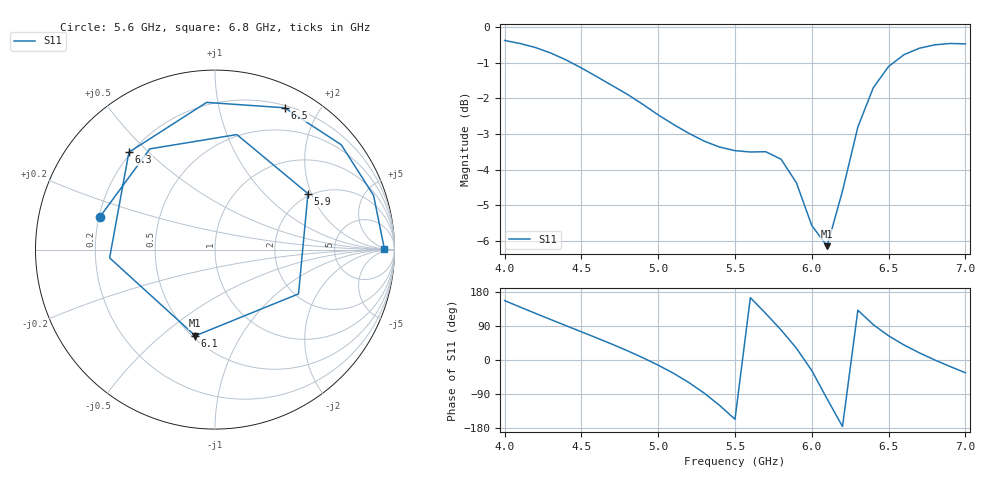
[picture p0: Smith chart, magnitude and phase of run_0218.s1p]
! Touchstone file exported from HFSS 2024.2.0
!  File:  C:/Users/wsak9/Desktop/Sim Fast/Widenad Patch/WP_AI_V1_sweep.aedt
!  Generated:  12:05:51 AM Oct 14, 2026
!  Design:  A1_model
!  Project:  WP_AI_V1_sweep
!  Setup:  Setup1
!  Solution:  Sweep
! Variables:
!  Air_gap = 4.35mm
!  Curve_Amp1 = 2.32
!  Curve_len1 = 1
!  Curve_pos = 10.16mm
!  Extra = 4.98mm
!  H_sub = 0.79mm
!  L_Patch = 16.32mm
!  L_Patch1 = 19.08mm
!  Sx = 3.12mm
!  Sy = 4.68mm
!  WS = 1.31mm
!  W_Patch = 19.02mm
!  W_Patch1 = 14.1mm
!Data is not renormalized
# GHz S MA
! Terminal data exported
! Port[1] = 1
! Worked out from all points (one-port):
!   31 points, 4 GHz to 7 GHz, reference per port
!   lowest |S11| = -6.1 dB at 6.1 GHz (marker M1), VSWR 2.94
!   |S11| at or under -10 dB: nowhere
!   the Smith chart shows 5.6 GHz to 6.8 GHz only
!   S11 on the Smith chart (normalised r, x): 5.6 GHz: 0.20, +0.13; 5.9 GHz: 1.92, +1.89; 6.1 GHz: 0.52, -0.66; 6.3 GHz: 0.19, +0.44; 6.5 GHz: 0.23, +1.58; 6.8 GHz: 35, +2
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4  0.9574 156.8
4.2  0.9358 123.2
4.3  0.9194 106.8
4.4  0.899 90.6
4.6  0.8518 58.2
4.8  0.8043 24.4
4.9  0.7789 6.0
5  0.7528 -13.6
5.1  0.7298 -35.2
5.2  0.7093 -59.6
5.3  0.6916 -87.6
5.4  0.6785 -119.9
5.5  0.6707 -156.3
5.6  0.6679 164.4
5.7  0.6684 122.9
5.8  0.6524 79.2
5.9  0.6046 31.0
6  0.5267 -27.9
6.1  0.4927 -102.9
6.2  0.589 -175.5
6.3  0.7241 131.5
6.4  0.8215 93.3
6.5  0.8803 63.8
6.6  0.9143 39.7
6.7  0.9336 18.9
6.8  0.9439 0.2
6.9  0.948 -17.1
7  0.9468 -33.6
